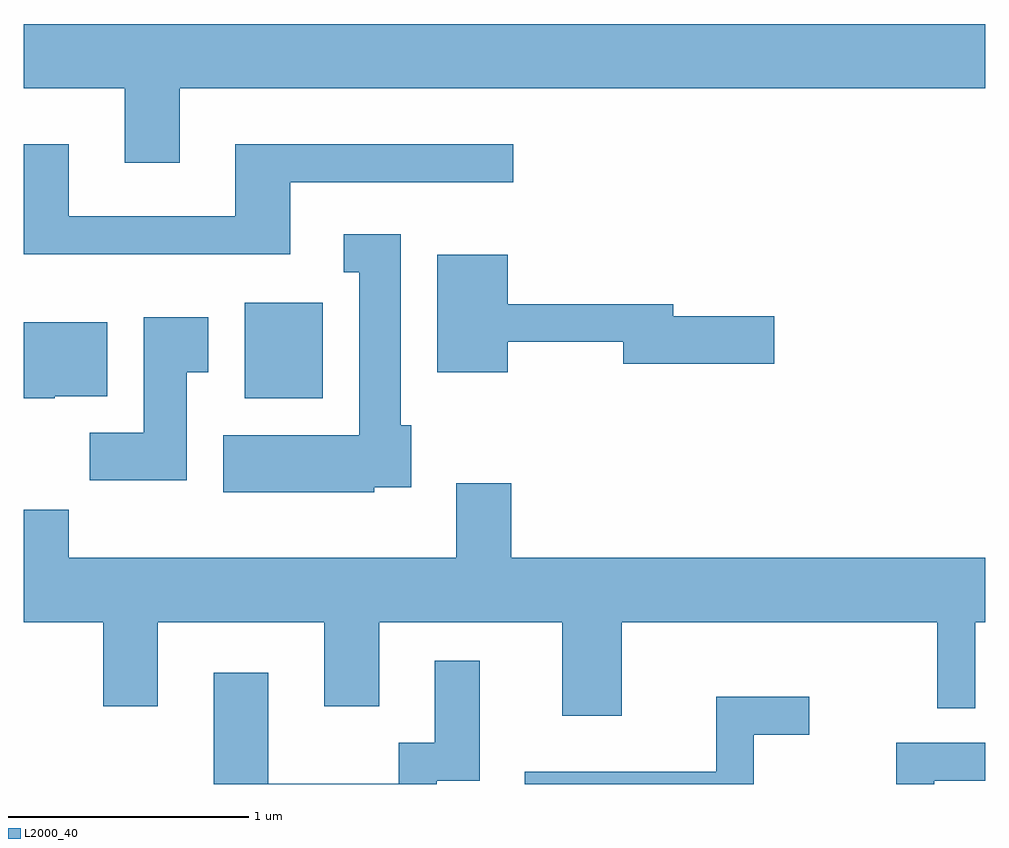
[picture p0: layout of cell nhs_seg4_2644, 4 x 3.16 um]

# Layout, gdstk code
import gdstk
lib = gdstk.Library(unit=1e-6, precision=1e-09)
def R(c, l, rs):  # rectangles x0, y0, x1, y1
    for r in rs: c.add(gdstk.rectangle(r[:2], r[2:], *l))
def P(c, l, *ps):  # polygons
    for p in ps: c.add(gdstk.Polygon(p, *l))
L2000_40 = (2000, 40)

nhs_seg4_2644 = lib.new_cell('nhs_seg4_2644')
R(nhs_seg4_2644, L2000_40, [(262.531,1375.586,262.854,1375.984)])
P(nhs_seg4_2644, L2000_40, [(262.259,1376.876),(265.611,1376.876),(265.611,1377.144),(261.611,1377.144),(261.611,1376.876),(262.031,1376.876),(262.031,1376.566),(262.259,1376.566)],
  [(262.719,1376.486),(263.648,1376.486),(263.648,1376.644),(262.491,1376.644),(262.491,1376.344),(261.799,1376.344),(261.799,1376.644),(261.611,1376.644),(261.611,1376.186),(262.719,1376.186)],
  [(263.069,1375.216),(263.224,1375.216),(263.224,1375.474),(263.179,1375.474),(263.179,1376.269),(262.943,1376.269),(262.943,1376.111),(263.006,1376.111),(263.006,1375.434),(262.441,1375.434),(262.441,1375.196),(263.069,1375.196)],
  [(263.624,1375.821),(264.106,1375.821),(264.106,1375.731),(264.734,1375.731),(264.734,1375.929),(264.314,1375.929),(264.314,1375.979),(263.624,1375.979),(263.624,1376.184),(263.331,1376.184),(263.331,1375.696),(263.624,1375.696)],
  [(262.289,1375.696),(262.379,1375.696),(262.379,1375.924),(262.111,1375.924),(262.111,1375.444),(261.886,1375.444),(261.886,1375.246),(262.289,1375.246)],
  [(261.74,1375.596),(261.959,1375.596),(261.959,1375.904),(261.611,1375.904),(261.611,1375.586),(261.74,1375.586)],
  [(264.099,1374.656),(265.411,1374.656),(265.411,1374.298),(265.569,1374.298),(265.569,1374.656),(265.611,1374.656),(265.611,1374.924),(263.639,1374.924),(263.639,1375.234),(263.411,1375.234),(263.411,1374.924),(261.799,1374.924),(261.799,1375.124),(261.611,1375.124),(261.611,1374.656),(261.941,1374.656),(261.941,1374.306),(262.169,1374.306),(262.169,1374.656),(262.861,1374.656),(262.861,1374.306),(263.089,1374.306),(263.089,1374.656),(263.851,1374.656),(263.851,1374.266),(264.099,1374.266)],
  [(263.329,1373.996),(263.509,1373.996),(263.509,1374.494),(263.321,1374.494),(263.321,1374.154),(263.171,1374.154),(263.171,1373.984),(262.629,1373.984),(262.629,1374.444),(262.401,1374.444),(262.401,1373.982),(263.329,1373.982)],
  [(264.649,1374.186),(264.878,1374.186),(264.878,1374.344),(264.491,1374.344),(264.491,1374.034),(263.696,1374.034),(263.696,1373.982),(264.649,1373.982)],
  [(265.399,1373.996),(265.611,1373.996),(265.611,1374.154),(265.241,1374.154),(265.241,1373.982),(265.399,1373.982)])

lib.write_gds('nhs_seg4_2644.gds')
